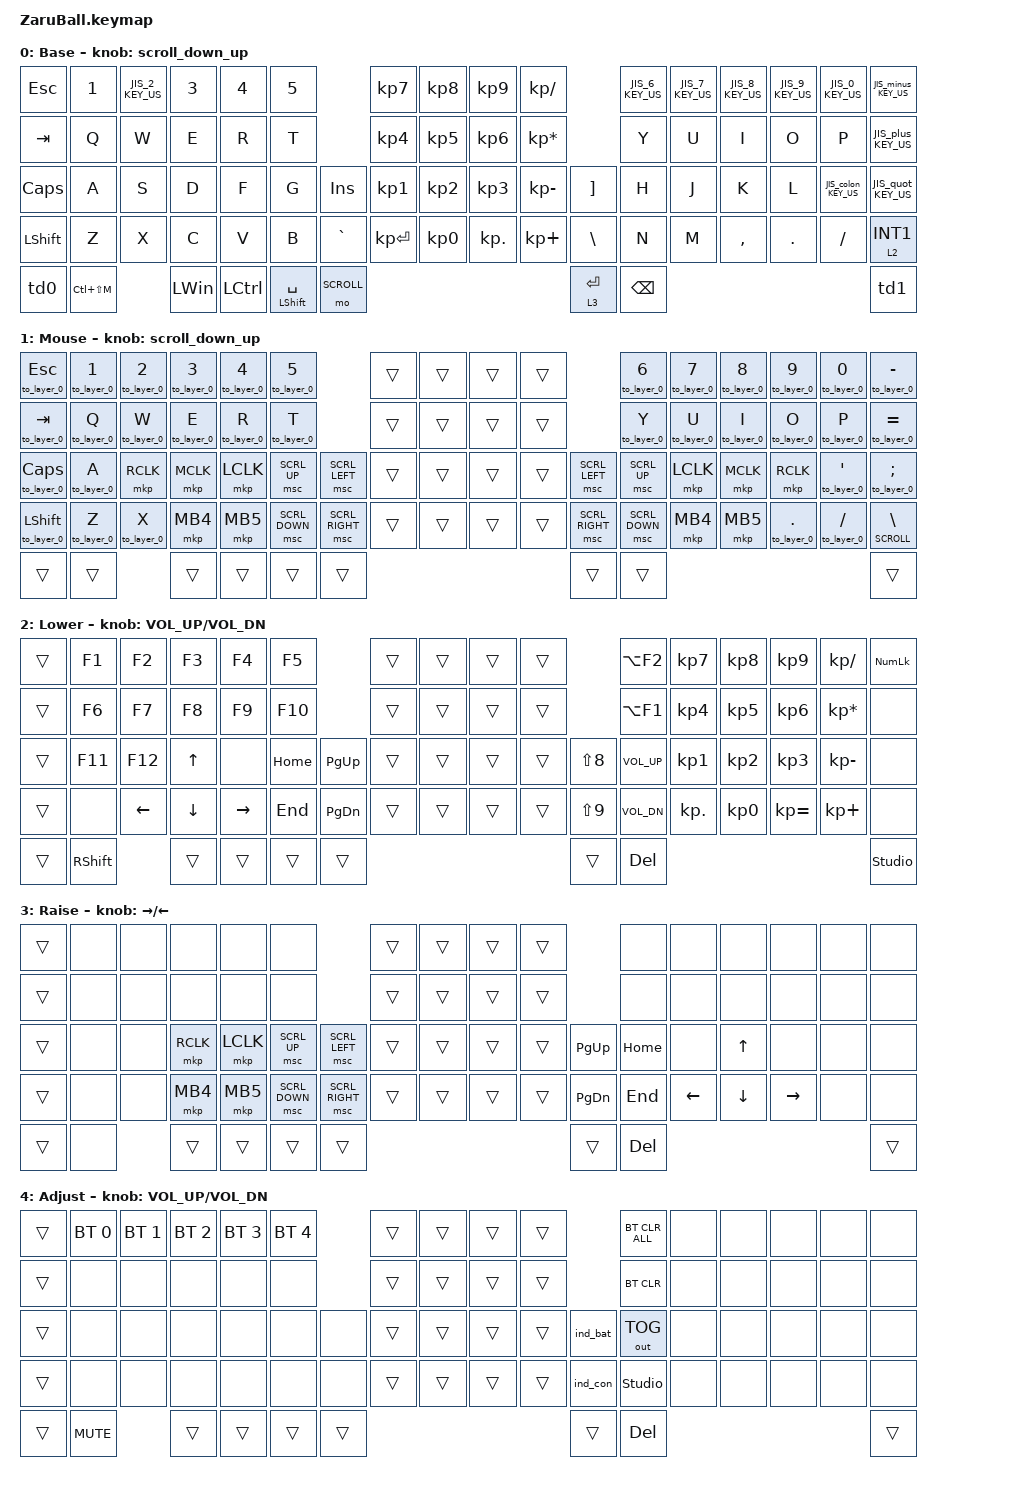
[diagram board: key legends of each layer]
//#include <dt-bindings/zmk/mouse.h>

#include <behaviors/rgbled_widget.dtsi>
#include <input/processors.dtsi>
#include <dt-bindings/zmk/input_transform.h>
#include <behaviors.dtsi>
#include <dt-bindings/zmk/bt.h>
#include <dt-bindings/zmk/keys.h>
#include <dt-bindings/zmk/outputs.h>
#include <dt-bindings/zmk/pointing.h>

#define BASE     0
#define MOUSE    1
#define LOWER    2
#define RAISE    3
#define ADJUST   4
#define SCROLL   2

// スクロール量の設定

#define ZMK_POINTING_DEFAULT_SCRL_VAL 100

&trackball_listener {
    input-processors = <
                         &zip_xy_transform (INPUT_TRANSFORM_XY_SWAP | INPUT_TRANSFORM_Y_INVERT | INPUT_TRANSFORM_X_INVERT)
                         &zip_temp_layer MOUSE 500
    >;

    scroller {
        layers = <SCROLL>;
        input-processors = <
                            &zip_xy_transform (INPUT_TRANSFORM_XY_SWAP | INPUT_TRANSFORM_X_INVERT)
                            &zip_xy_scaler 1 20
                            &zip_xy_to_scroll_mapper
        >;
    };
};

/ {
    conditional_layers {
        compatible = "zmk,conditional-layers";

        tri_layer {
            if-layers = <2 3>;
            then-layer = <4>;
        };
    };
};

/ {
    behaviors {
        // スクロール用のbehaviorの設定

        scroll_down_up: behavior_sensor_rotate_mouse_wheel_down_up {
            compatible = "zmk,behavior-sensor-rotate";
            #sensor-binding-cells = <0>;
            bindings = <&msc SCRL_DOWN>, <&msc SCRL_UP>;

            tap-ms = <20>; // スクロールのタップ時間
        };

        td0: tap_dance_0 {
            compatible = "zmk,behavior-tap-dance";
            #binding-cells = <0>;
            tapping-term-ms = <200>;
            bindings = <&mt LALT LANG2>, <&mo RAISE>, <&mo MOUSE>;
        };

        td1: tap_dance_1 {
            compatible = "zmk,behavior-tap-dance";
            #binding-cells = <0>;
            tapping-term-ms = <200>;
            bindings = <&mt RCTL LANG1>, <&mo RAISE>, <&mo MOUSE>;
        };

        // Customed Hold-Tap for SandS

        SandS: SandS {
            compatible = "zmk,behavior-hold-tap";
            #binding-cells = <2>;
            flavor = "tap-unless-interrupted";
            tapping-term-ms = <500>;
            quick-tap-ms = <500>;
            bindings = <&kp>, <&kp>;

            display-name = "SandS";
        };

        JIS_2_KEY_US: JIS_2_KEY_US {
            compatible = "zmk,behavior-mod-morph";
            label = "JIS_2_KEY_US";
            bindings = <&kp N2>, <&kp LEFT_BRACKET>;

            #binding-cells = <0>;
            mods = <(MOD_LSFT|MOD_RSFT)>;
        };

        JIS_6_KEY_US: JIS_6_KEY_US {
            compatible = "zmk,behavior-mod-morph";
            label = "JIS_6_KEY_US";
            bindings = <&kp N6>, <&kp EQUAL>;

            #binding-cells = <0>;
            mods = <(MOD_LSFT|MOD_RSFT)>;
        };

        JIS_7_KEY_US: JIS_7_KEY_US {
            compatible = "zmk,behavior-mod-morph";
            label = "JIS_7_KEY_US";
            bindings = <&kp N7>, <&kp LS(N6)>;

            #binding-cells = <0>;
            mods = <(MOD_LSFT|MOD_RSFT)>;
        };

        JIS_8_KEY_US: JIS_8_KEY_US {
            compatible = "zmk,behavior-mod-morph";
            label = "JIS_8_KEY_US";
            bindings = <&kp N8>, <&kp LS(SINGLE_QUOTE)>;

            #binding-cells = <0>;
            mods = <(MOD_LSFT|MOD_RSFT)>;
        };

        JIS_9_KEY_US: JIS_9_KEY_US {
            compatible = "zmk,behavior-mod-morph";
            label = "JIS_9_KEY_US";
            bindings = <&kp N9>, <&kp LS(N8)>;

            #binding-cells = <0>;
            mods = <(MOD_LSFT|MOD_RSFT)>;
        };

        JIS_0_KEY_US: JIS_0_KEY_US {
            compatible = "zmk,behavior-mod-morph";
            label = "JIS_0_KEY_US";
            bindings = <&kp N0>, <&kp LS(N9)>;

            #binding-cells = <0>;
            mods = <(MOD_LSFT|MOD_RSFT)>;
        };

        JIS_minus_KEY_US: JIS_minus_KEY_US {
            compatible = "zmk,behavior-mod-morph";
            label = "JIS_MINUS_KEY_US";
            bindings = <&kp MINUS>, <&kp LS(INT1)>;

            #binding-cells = <0>;
            mods = <(MOD_LSFT|MOD_RSFT)>;
        };

        JIS_plus_KEY_US: JIS_plus_KEY_US {
            compatible = "zmk,behavior-mod-morph";
            label = "JIS_PLUS_KEY_US";
            bindings = <&kp LS(MINUS)>, <&kp LS(SEMICOLON)>;

            #binding-cells = <0>;
            mods = <(MOD_LSFT|MOD_RSFT)>;
        };

        JIS_colon_KEY_US: JIS_colon_KEY_US {
            compatible = "zmk,behavior-mod-morph";
            label = "JIS_COLON_KEY_US";
            bindings = <&kp SEMICOLON>, <&kp SINGLE_QUOTE>;

            #binding-cells = <0>;
            mods = <(MOD_LSFT|MOD_RSFT)>;
        };

        JIS_quot_KEY_US: JIS_quot_KEY_US {
            compatible = "zmk,behavior-mod-morph";
            label = "JIS_QUOT_KEY_US";
            bindings = <&kp LS(N7)>, <&kp LS(N2)>;

            #binding-cells = <0>;
            mods = <(MOD_LSFT|MOD_RSFT)>;
        };

        YEN_LT: YEN_LT {
            compatible = "zmk,behavior-hold-tap";
            label = "YEN_LT";
            bindings = <&mo>, <&kp>;

            #binding-cells = <2>;
            tapping-term-ms = <200>;
            flavor = "tap-preferred";
        };
    };
};

&sl { release-after-ms = <250>; }; // time needed for double click (for mkp_exit_AML)
/ {
    macros {
        // When in AML, move to default layer when key (except mouse button) pressed

        to_layer_0: to_layer_0 {
            compatible = "zmk,behavior-macro-one-param";
            #binding-cells = <1>;
            bindings = <&tog MOUSE &macro_param_1to1 &kp MACRO_PLACEHOLDER>;
            label = "TO_layer_0";
        };

        // When LCLK pressed, exit AML (after 250ms cause by sticky layer

        mkp_exit_AML: mkp_exit_AML {
            compatible = "zmk,behavior-macro-one-param";
            #binding-cells = <1>;
            bindings =
                <&macro_press>,
                <&macro_param_1to1 &mkp MACRO_PLACEHOLDER>,
                <&macro_pause_for_release>,
                <&macro_release>,
                <&macro_param_1to1 &mkp MACRO_PLACEHOLDER>,
                <&macro_tap>,
                <&sl MOUSE>;

            label = "MKP_EXIT_AML";
        };
    };
};

/ {
    keymap {
        compatible = "zmk,keymap";

        base_layer {
            display-name = "Base";
            sensor-bindings = <&scroll_down_up>;
            bindings = <
&kp ESC    &kp N1         &JIS_2_KEY_US  &kp N3    &kp N4     &kp N5                            &kp KP_N7     &kp KP_N8  &kp KP_N9   &kp KP_DIVIDE                         &JIS_6_KEY_US  &JIS_7_KEY_US  &JIS_8_KEY_US  &JIS_9_KEY_US  &JIS_0_KEY_US      &JIS_minus_KEY_US
&kp TAB    &kp Q          &kp W          &kp E     &kp R      &kp T                             &kp KP_N4     &kp KP_N5  &kp KP_N6   &kp KP_MULTIPLY                       &kp Y          &kp U          &kp I          &kp O          &kp P              &JIS_plus_KEY_US
&kp CAPS   &kp A          &kp S          &kp D     &kp F      &kp G               &kp INS       &kp KP_N1     &kp KP_N2  &kp KP_N3   &kp KP_MINUS       &kp RIGHT_BRACKET  &kp H          &kp J          &kp K          &kp L          &JIS_colon_KEY_US  &JIS_quot_KEY_US
&kp LSHFT  &kp Z          &kp X          &kp C     &kp V      &kp B               &kp GRAVE     &kp KP_ENTER  &kp KP_N0  &kp KP_DOT  &kp KP_PLUS        &kp BSLH           &kp N          &kp M          &kp COMMA      &kp DOT        &kp FSLH           &lt 2 INT1
&td0       &kp LC(LS(M))                 &kp LWIN  &kp LCTRL  &SandS LSHFT SPACE  &mo SCROLL                                                            &lt 3 RET          &kp BSPC                                                                       &td1
            >;
        };

        mouse_layer {
            display-name = "Mouse";
            sensor-bindings = <&scroll_down_up>;
            bindings = <
&to_layer_0 ESC     &to_layer_0 N1  &to_layer_0 N2  &to_layer_0 N3  &to_layer_0 N4  &to_layer_0 N5                     &trans  &trans  &trans  &trans                     &to_layer_0 N6  &to_layer_0 N7  &to_layer_0 N8  &to_layer_0 N9      &to_layer_0 N0            &to_layer_0 MINUS
&to_layer_0 TAB     &to_layer_0 Q   &to_layer_0 W   &to_layer_0 E   &to_layer_0 R   &to_layer_0 T                      &trans  &trans  &trans  &trans                     &to_layer_0 Y   &to_layer_0 U   &to_layer_0 I   &to_layer_0 O       &to_layer_0 P             &to_layer_0 EQUAL
&to_layer_0 CAPS    &to_layer_0 A   &mkp RCLK       &mkp MCLK       &mkp LCLK       &msc SCRL_UP    &msc SCRL_LEFT     &trans  &trans  &trans  &trans    &msc SCRL_LEFT   &msc SCRL_UP    &mkp LCLK       &mkp MCLK       &mkp RCLK           &to_layer_0 SINGLE_QUOTE  &to_layer_0 SEMICOLON
&to_layer_0 LSHIFT  &to_layer_0 Z   &to_layer_0 X   &mkp MB4        &mkp MB5        &msc SCRL_DOWN  &msc SCRL_RIGHT    &trans  &trans  &trans  &trans    &msc SCRL_RIGHT  &msc SCRL_DOWN  &mkp MB4        &mkp MB5        &to_layer_0 PERIOD  &to_layer_0 SLASH         &lt SCROLL BACKSLASH
&trans              &trans                          &trans          &trans          &trans          &trans                                               &trans           &trans                                                                                        &trans
            >;
        };

        lower_layer {
            display-name = "Lower";
            sensor-bindings = <&inc_dec_kp C_VOL_UP C_VOL_DN>;
            bindings = <
&trans  &kp F1     &kp F2    &kp F3    &kp F4     &kp F5                 &trans  &trans  &trans  &trans                &kp LA(F2)    &kp KP_N7   &kp KP_N8  &kp KP_N9     &kp KP_SLASH     &kp KP_NUMLOCK
&trans  &kp F6     &kp F7    &kp F8    &kp F9     &kp F10                &trans  &trans  &trans  &trans                &kp LA(F1)    &kp KP_N4   &kp KP_N5  &kp KP_N6     &kp KP_MULTIPLY  &none
&trans  &kp F11    &kp F12   &kp UP    &none      &kp HOME  &kp PG_UP    &trans  &trans  &trans  &trans    &kp LS(N8)  &kp C_VOL_UP  &kp KP_N1   &kp KP_N2  &kp KP_N3     &kp KP_MINUS     &none
&trans  &none      &kp LEFT  &kp DOWN  &kp RIGHT  &kp END   &kp PG_DN    &trans  &trans  &trans  &trans    &kp LS(N9)  &kp C_VOL_DN  &kp KP_DOT  &kp KP_N0  &kp KP_EQUAL  &kp KP_PLUS      &none
&trans  &kp RSHFT            &trans    &trans     &trans    &trans                                         &trans      &kp DEL                                                             &studio_unlock
            >;
        };

        raise_layer {
            display-name = "Raise";
            sensor-bindings = <&inc_dec_kp RIGHT LEFT>;
            bindings = <
&trans  &none  &none  &none      &none      &none                              &trans  &trans  &trans  &trans               &none     &none     &none     &none      &none  &none
&trans  &none  &none  &none      &none      &none                              &trans  &trans  &trans  &trans               &none     &none     &none     &none      &none  &none
&trans  &none  &none  &mkp RCLK  &mkp LCLK  &msc SCRL_UP    &msc SCRL_LEFT     &trans  &trans  &trans  &trans    &kp PG_UP  &kp HOME  &none     &kp UP    &none      &none  &none
&trans  &none  &none  &mkp MB4   &mkp MB5   &msc SCRL_DOWN  &msc SCRL_RIGHT    &trans  &trans  &trans  &trans    &kp PG_DN  &kp END   &kp LEFT  &kp DOWN  &kp RIGHT  &none  &none
&trans  &none         &trans     &trans     &trans          &trans                                               &trans     &kp DEL                                         &trans
            >;
        };

        adjust_layer {
            display-name = "Adjust";
            sensor-bindings = <&inc_dec_kp C_VOL_UP C_VOL_DN>;
            bindings = <
&trans  &bt BT_SEL 0  &bt BT_SEL 1  &bt BT_SEL 2  &bt BT_SEL 3  &bt BT_SEL 4            &trans  &trans  &trans  &trans              &bt BT_CLR_ALL  &none  &none  &none  &none  &none
&trans  &none         &none         &none         &none         &none                   &trans  &trans  &trans  &trans              &bt BT_CLR      &none  &none  &none  &none  &none
&trans  &none         &none         &none         &none         &none         &none     &trans  &trans  &trans  &trans    &ind_bat  &out OUT_TOG    &none  &none  &none  &none  &none
&trans  &none         &none         &none         &none         &none         &none     &trans  &trans  &trans  &trans    &ind_con  &studio_unlock  &none  &none  &none  &none  &none
&trans  &kp C_MUTE                  &trans        &trans        &trans        &trans                                      &trans    &kp DEL                                     &trans
            >;
        };

        // Extra layer can be added in ZMK STUDIO

        extra1 { status = "reserved"; };

        extra2 { status = "reserved"; };
    };
};
